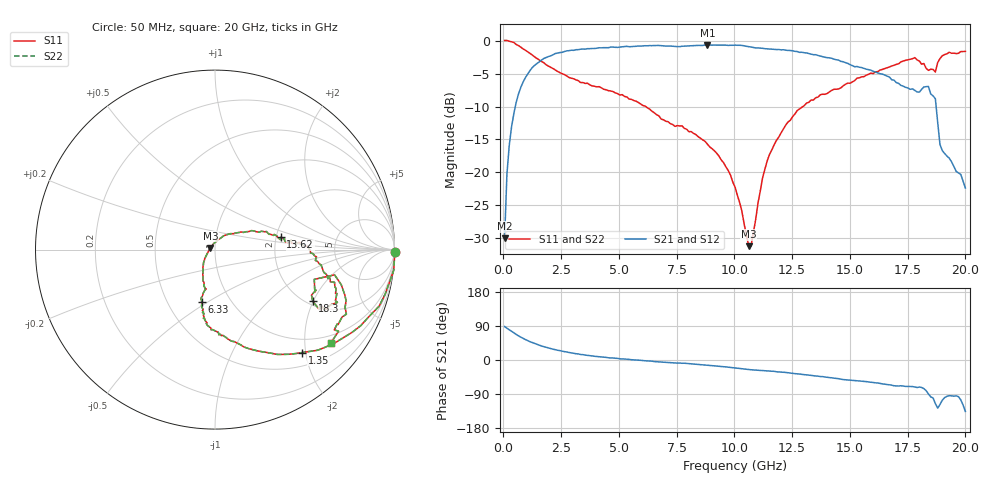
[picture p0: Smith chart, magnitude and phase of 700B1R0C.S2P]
!  American Technical Ceramics  Date:  3/13/98
!  One Norden Lane
!  Huntington Station,  NY.  11746-2102
!  Tel:  (516) 547-5700  Fax:  (516) 547-5748
!  Part Number  700B1R0C
!  Description: Porcelain, High Q, Low ESR
!  Application: Bypass, Coupling, Timing, Feedback
!  Tuning, Impedance Match, Blocking
# GHZ S DB R 50
! Freq  |S11|  S11 Ph  |S21|  S21 Ph  |S12|  S12 Ph  |S22|  S22 Ph
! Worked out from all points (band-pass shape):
!   201 points, 50 MHz to 20 GHz, reference 50 ohm
!   highest |S21| = -0.65 dB at 8.83 GHz (marker M1); lowest = -30.0 dB at 50 MHz (marker M2)
!   |S21| within 3 dB of the highest: 1.387 GHz to 15.01 GHz (13.62 GHz wide, 166 % of centre)
!   lowest |S11| = -31.2 dB at 10.62 GHz (marker M3), VSWR 1.06, Z = 47.5 + j0.854 ohm
!   |S11| at or under -10 dB: 6.157 GHz to 12.96 GHz (6.807 GHz wide, 71.2 % of centre)
!   |S22| runs from -31.2 to 0.0 dB; largest |S21 - S12| = 0
!   S11 on the Smith chart (normalised r, x): 50 MHz: open; 1.35 GHz: 0.73, -1.93; 6.33 GHz: 0.73, -0.47; 13.62 GHz: 2.12, +0.34; 18.3 GHz: 2.14, -1.98; 20 GHz: 0.78, -2.62
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0.05  0.02 -0.9  -30.01 88.4  -30.01 88.4  0.02 -0.9
0.15  0.02 -6.6  -20.28 83.8  -20.28 83.8  0.02 -6.6
0.45  -0.29 -19.0  -11.08 71.9  -11.08 71.9  -0.29 -19.0
1.35  -2.48 -49.8  -3.75 43.5  -3.75 43.5  -2.48 -49.8
2.34  -4.67 -71.0  -1.89 25.8  -1.89 25.8  -4.67 -71.0
3.44  -6.37 -85.9  -1.29 14.1  -1.29 14.1  -6.37 -85.9
6.33  -10.40 -104.3  -0.76 -2.7  -0.76 -2.7  -10.40 -104.3
6.73  -11.42 -105.2  -0.74 -5.2  -0.74 -5.2  -11.42 -105.2
8.83  -15.71 -114.0  -0.65 -13.7  -0.65 -13.7  -15.71 -114.0
10.03  -22.25 -138.4  -0.69 -20.9  -0.69 -20.9  -22.25 -138.4
10.62  -31.19 161.0  -0.92 -25.3  -0.92 -25.3  -31.19 161.0
10.72  -31.18 130.4  -0.98 -25.8  -0.98 -25.8  -31.18 130.4
11.52  -17.27 40.4  -1.29 -29.3  -1.29 -29.3  -17.27 40.4
13.42  -9.02 11.4  -2.14 -41.5  -2.14 -41.5  -9.02 11.4
13.62  -8.57 10.6  -2.26 -42.5  -2.26 -42.5  -8.57 10.6
16.71  -3.99 -12.4  -5.53 -65.4  -5.53 -65.4  -3.99 -12.4
17.81  -2.58 -23.4  -7.55 -71.1  -7.55 -71.1  -2.58 -23.4
18.3  -4.21 -27.9  -6.99 -80.9  -6.99 -80.9  -4.21 -27.9
18.7  -4.77 -16.7  -8.82 -115.1  -8.82 -115.1  -4.77 -16.7
18.8  -3.34 -11.9  -12.39 -127.1  -12.39 -127.1  -3.34 -11.9
19  -2.31 -19.3  -16.69 -106.0  -16.69 -106.0  -2.31 -19.3
20  -1.63 -39.0  -22.37 -135.7  -22.37 -135.7  -1.63 -39.0
